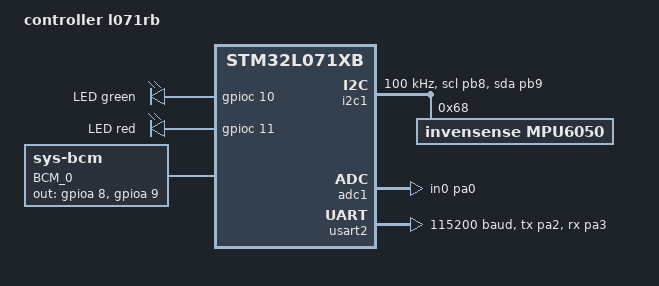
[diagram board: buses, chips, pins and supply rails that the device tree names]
/dts-v1/;
#include <st/l0/stm32l071Xb.dtsi>
#include <st/l0/stm32l071r(b-z)tx-pinctrl.dtsi>

/ {
  model = "controller l071rb";
  compatible = "metelski,controller-l071rb";

  chosen {
    zephyr,sram = &sram0;
    zephyr,flash = &flash0;
    zephyr,console = &usart2;
    zephyr,shell-uart = &usart2;
  };

  aliases {
    led0 = &green_led;
    led1 = &red_led;
  };

  leds {
    compatible = "gpio-leds";
    green_led: led_0 {
      gpios = <&gpioc 10 GPIO_ACTIVE_HIGH>;
      label = "LED green";
    };
    red_led: led_1 {
      gpios = <&gpioc 11 GPIO_ACTIVE_HIGH>;
      label = "LED red";
    };
  };

  bcm_sys0: bcm_sys {
    compatible = "sys-bcm";
    status = "okay";
    label = "BCM_0";
    out-gpios = <&gpioa 8 GPIO_ACTIVE_HIGH>,
                <&gpioa 9 GPIO_ACTIVE_HIGH>;
  };
};

&i2c1 {
  status = "okay";
  pinctrl-0 = <&i2c1_scl_pb8 &i2c1_sda_pb9>;
  clock-frequency = <I2C_BITRATE_STANDARD>;

  mpu6050@68 {
    compatible = "invensense,mpu6050";
    reg = <0x68>;
    status = "okay";
    label = "MPU6050";
  };
};

&adc1 {
  pinctrl-0 = <&adc_in0_pa0>;
  status = "okay";
};

&usart2 {
  pinctrl-0 = <&usart2_tx_pa2 &usart2_rx_pa3>;
  current-speed = <115200>;
  status = "okay";
};

&clk_hsi {
  status = "okay";
};

&pll {
  div = <2>;
  mul = <4>;
  clocks = <&clk_hsi>;
  status = "okay";
};

&rcc {
  clocks = <&pll>;
  clock-frequency= <DT_FREQ_M(32)>;
  ahb-prescaler = <1>;
  apb1-prescaler = <1>;
  apb2-prescaler = <1>;
  status = "okay";
};
